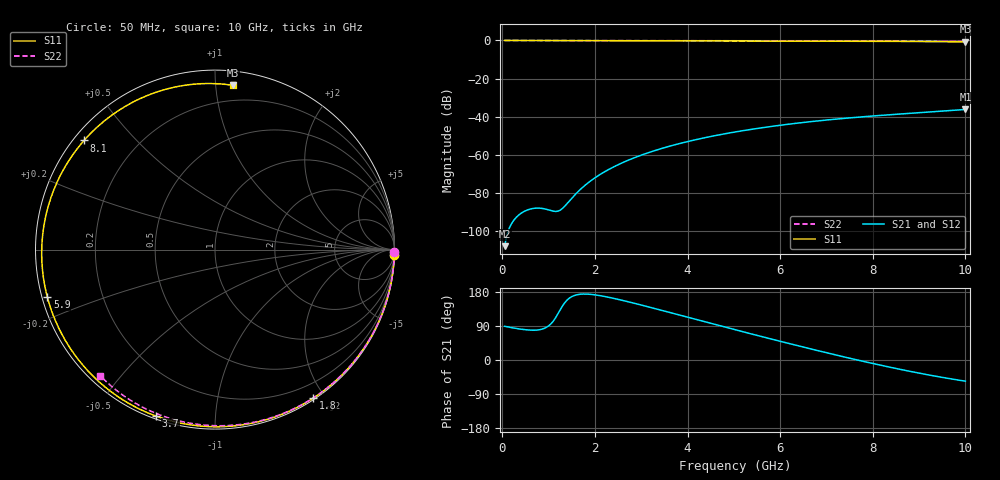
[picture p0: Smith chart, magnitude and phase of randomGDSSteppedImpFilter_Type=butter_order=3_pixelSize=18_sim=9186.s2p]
! freq	dB(S11)	phase(S11)	dB(S12)	phase(S12)
!  dB(S21)	phase(S21)	dB(S22)	phase(S22)
!S-par simulation data
#  GHz  S  DB  R 50
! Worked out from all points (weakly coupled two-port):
!   200 points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, 50 MHz to 10 GHz, reference 50 ohm
!   highest |S21| = -36.19 dB at 10 GHz (marker M1); lowest = -107.9 dB at 50 MHz (marker M2)
!   lowest |S11| = -0.7 dB at 10 GHz (marker M3), VSWR 24.19, Z = 4.64 + j55.6 ohm
!   |S11| at or under -10 dB: nowhere
!   |S22| runs from -0.4 to 0.0 dB; largest |S21 - S12| = 0
!   S11 on the Smith chart (normalised r, x): 50 MHz: 0, -70; 1.8 GHz: 0.02, -1.86; 3.7 GHz: 0.01, -0.71; 5.9 GHz: 0.02, -0.14; 8.1 GHz: 0.03, +0.36; 10 GHz: 0.09, +1.11
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0.05  -0.00 -1.6  -107.89 89.0  -107.89 89.0  -0.00 -0.8
0.4  -0.02 -12.9  -90.72 81.4  -90.72 81.4  -0.01 -6.1
0.8  -0.03 -25.7  -87.94 79.9  -87.94 79.9  -0.02 -12.2
1.6  -0.06 -50.6  -80.15 171.8  -80.15 171.8  -0.03 -24.2
1.75  -0.07 -55.1  -76.72 174.0  -76.72 174.0  -0.03 -26.4
1.8  -0.07 -56.6  -75.69 174.0  -75.69 174.0  -0.03 -27.1
2.1  -0.08 -65.5  -70.46 170.1  -70.46 170.1  -0.04 -31.5
2.45  -0.09 -75.6  -65.77 161.5  -65.77 161.5  -0.05 -36.7
2.9  -0.11 -88.2  -61.06 148.2  -61.06 148.2  -0.06 -43.1
3.4  -0.13 -101.7  -56.95 132.4  -56.95 132.4  -0.07 -50.2
3.7  -0.14 -109.6  -54.88 122.7  -54.88 122.7  -0.07 -54.4
4.35  -0.17 -126.2  -51.12 101.6  -51.12 101.6  -0.09 -63.3
5.05  -0.20 -143.5  -47.90 79.2  -47.90 79.2  -0.11 -72.7
5.9  -0.26 -164.2  -44.80 52.5  -44.80 52.5  -0.14 -83.7
6.7  -0.32 176.2  -42.47 28.1  -42.47 28.1  -0.18 -93.7
7.4  -0.38 158.6  -40.82 7.6  -40.82 7.6  -0.22 -102.2
8.1  -0.45 140.2  -39.43 -11.9  -39.43 -11.9  -0.27 -110.5
8.35  -0.47 133.3  -38.99 -18.5  -38.99 -18.5  -0.29 -113.4
8.8  -0.53 120.6  -38.23 -29.9  -38.23 -29.9  -0.33 -118.6
9.25  -0.59 107.2  -37.50 -40.4  -37.50 -40.4  -0.37 -123.7
9.65  -0.65 94.9  -36.83 -49.0  -36.83 -49.0  -0.41 -128.3
10  -0.72 83.7  -36.19 -55.9  -36.19 -55.9  -0.45 -132.3
